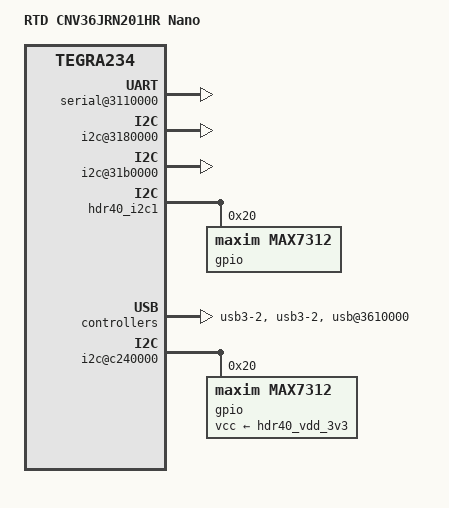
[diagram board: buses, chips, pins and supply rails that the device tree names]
// SPDX-License-Identifier: GPL-2.0-only
// SPDX-FileCopyrightText: Copyright (c) 2023, NVIDIA CORPORATION & AFFILIATES.  All rights reserved.

/dts-v1/;

#include "tegra234-p3768-0000+p3767-0005.dts"
#include "tegra234-p3768-0000+p3767-xxxx-nv-common.dtsi"

/ {

	model = "RTD CNV36JRN201HR Nano";

	bus@0 {
    
		host1x@13e00000 {
			nvdla0@15880000 {
				status = "disabled";
			};

			nvdla1@158c0000 {
				status = "disabled";
			};

			pva0@16000000 {
				status = "disabled";
			};
		};

		serial@3110000 {
			status = "okay";
		};
        
		i2c@3180000 {
			status = "okay";
		};

		i2c@31b0000 {
			status = "okay";
		};

		hdr40_i2c1: i2c@c250000 {
			status = "okay";
			gpio@20 {
				compatible = "maxim,max7312";
				reg = <0x20>;
				gpio-controller;
				#gpio-cells = <2>;
				gpio-line-names =
					"CN6-1",
					"CN6-2",
					"CN6-3",
					"CN6-3",
					"CN6-4",
					"CN6-5",
					"CN6-6",
					"CN6-7",
					"CN6-8",
					"CN6-9",
					"CN6-10",
					"CN6-11",
					"CN6-12",
					"CN6-13",
					"reserved",
					"CN6-16-5v-enable";
					status = "okay";
			 };            
		};

	padctl@3520000 {
            pads {
                usb3 {
                    lanes {
                        usb3-2 {
                            nvidia,function = "xusb";
                            status = "okay";
                        };
                    };
                };
            };

            ports {
		usb2-0 {
			/delete-node/ port;
		};
		/delete-node/ usb3-1;		
                usb3-2 {/* Goes to CN21 */
                    nvidia,usb2-companion = <2>;
                    status = "okay";
                };
            };
		}; 

		usb@3610000 {
			status = "okay";

			phys = <&{/bus@0/padctl@3520000/pads/usb2/lanes/usb2-0}>,
			       <&{/bus@0/padctl@3520000/pads/usb2/lanes/usb2-1}>,
			       <&{/bus@0/padctl@3520000/pads/usb2/lanes/usb2-2}>,
			       <&{/bus@0/padctl@3520000/pads/usb3/lanes/usb3-0}>,
			      // <&{/bus@0/padctl@3520000/pads/usb3/lanes/usb3-1}>,
		               <&{/bus@0/padctl@3520000/pads/usb3/lanes/usb3-2}>;
			phy-names = "usb2-0", "usb2-1", "usb2-2", "usb3-0", "usb3-2";
				   // "usb3-1", "usb3-2";
		};
        
	i2c@c240000 {
		/delete-node/ fusb301@25;
            gpio@20 {
                    compatible = "maxim,max7312";
                    reg = <0x20>;
                    gpio-controller;
                    #gpio-cells = <2>;
                    gpio-line-names =
                            "sp0_en",
                            "sp0_invdir",
                            "sp0_term",
                            "sp0_mode2",
                            "sp0_mode1",
                            "sp0_mode0",
                            "sp0_slew",
                            "rsvd",
                            "sp1_en",
                            "sp1_invdir",
                            "sp1_term",
                            "sp1_mode2",
                            "sp1_mode1",
                            "sp1_mode0",
                            "sp1_slew",
                            "can_silent";

                    vcc-supply = <&hdr40_vdd_3v3>;
                    status = "okay";
                    };
		};

	};
};
